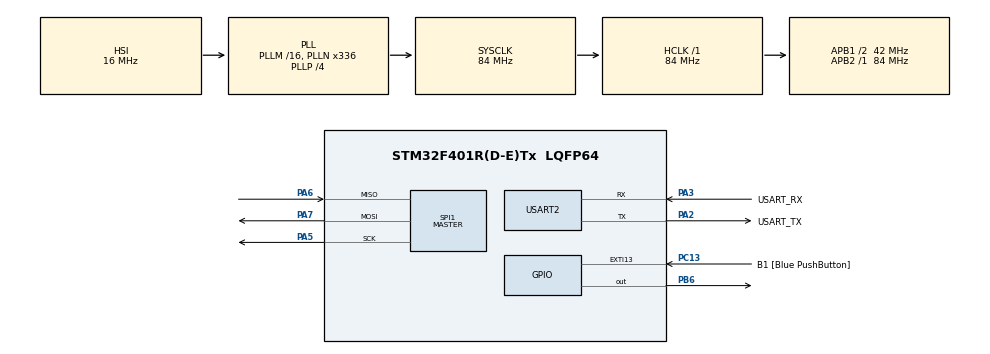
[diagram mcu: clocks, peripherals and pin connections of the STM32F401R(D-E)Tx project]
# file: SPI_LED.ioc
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Dma.Request0=SPI1_TX
Dma.SPI1_TX.0.Direction=DMA_MEMORY_TO_PERIPH
Dma.SPI1_TX.0.FIFOMode=DMA_FIFOMODE_DISABLE
Dma.SPI1_TX.0.Instance=DMA2_Stream3
Dma.SPI1_TX.0.MemDataAlignment=DMA_MDATAALIGN_BYTE
Dma.SPI1_TX.0.MemInc=DMA_MINC_ENABLE
Dma.SPI1_TX.0.Mode=DMA_NORMAL
Dma.SPI1_TX.0.PeriphDataAlignment=DMA_PDATAALIGN_BYTE
Dma.SPI1_TX.0.PeriphInc=DMA_PINC_DISABLE
Dma.SPI1_TX.0.Priority=DMA_PRIORITY_LOW
Mcu.Family=STM32F4
Mcu.Name=STM32F401R(D-E)Tx
Mcu.Package=LQFP64
NVIC.DMA2_Stream3_IRQn=true\:0\:0\:false\:false\:true\:false\:true\:true
NVIC.PriorityGroup=NVIC_PRIORITYGROUP_4
NVIC.TIM2_IRQn=true\:0\:0\:true\:false\:true\:true\:true\:true
NVIC.TIM3_IRQn=true\:1\:0\:true\:false\:true\:true\:true\:true
PA13.GPIO_Label=TMS
PA13.Mode=Trace_Asynchronous_SW
PA13.Signal=SYS_JTMS-SWDIO
PA14.GPIO_Label=TCK
PA14.Mode=Trace_Asynchronous_SW
PA14.Signal=SYS_JTCK-SWCLK
PA2.GPIO_Label=USART_TX
PA2.GPIO_Mode=GPIO_MODE_AF_PP
PA2.GPIO_PuPd=GPIO_NOPULL
PA2.GPIO_Speed=GPIO_SPEED_FREQ_LOW
PA2.Mode=Asynchronous
PA2.Signal=USART2_TX
PA3.GPIO_Label=USART_RX
PA3.GPIO_Mode=GPIO_MODE_AF_PP
PA3.GPIO_PuPd=GPIO_NOPULL
PA3.GPIO_Speed=GPIO_SPEED_FREQ_LOW
PA3.Mode=Asynchronous
PA3.Signal=USART2_RX
PA5.Mode=Full_Duplex_Master
PA5.Signal=SPI1_SCK
PA6.Mode=Full_Duplex_Master
PA6.Signal=SPI1_MISO
PA7.Mode=Full_Duplex_Master
PA7.Signal=SPI1_MOSI
PB3.GPIO_Label=SWO
PB3.Mode=Trace_Asynchronous_SW
PB3.Signal=SYS_JTDO-SWO
PB6.Signal=GPIO_Output
PC13-ANTI_TAMP.GPIO_Label=B1 [Blue PushButton]
PC13-ANTI_TAMP.GPIO_ModeDefaultEXTI=GPIO_MODE_IT_FALLING
PC13-ANTI_TAMP.GPIO_PuPd=GPIO_NOPULL
PC13-ANTI_TAMP.Signal=GPXTI13
PC14-OSC32_IN.Mode=LSE-External-Oscillator
PC14-OSC32_IN.Signal=RCC_OSC32_IN
PC15-OSC32_OUT.Mode=LSE-External-Oscillator
PC15-OSC32_OUT.Signal=RCC_OSC32_OUT
PH0\ -\ OSC_IN.Mode=HSE-External-Clock-Source
PH0\ -\ OSC_IN.Signal=RCC_OSC_IN
PH1\ -\ OSC_OUT.Mode=HSE-External-Clock-Source
PH1\ -\ OSC_OUT.Signal=RCC_OSC_OUT
ProjectManager.HeapSize=0x200
ProjectManager.StackSize=0x400
ProjectManager.TargetToolchain=STM32CubeIDE
RCC.48MHZClocksFreq_Value=48000000
RCC.AHBFreq_Value=84000000
RCC.APB1CLKDivider=RCC_HCLK_DIV2
RCC.APB1Freq_Value=42000000
RCC.APB1TimFreq_Value=84000000
RCC.APB2Freq_Value=84000000
RCC.APB2TimFreq_Value=84000000
RCC.CortexFreq_Value=84000000
RCC.HCLKFreq_Value=84000000
RCC.HSE_VALUE=8000000
RCC.HSI_VALUE=16000000
RCC.PLLN=336
RCC.PLLP=RCC_PLLP_DIV4
RCC.PLLQ=7
RCC.SYSCLKFreq_VALUE=84000000
RCC.SYSCLKSource=RCC_SYSCLKSOURCE_PLLCLK
RCC.VCOOutputFreq_Value=336000000
SPI1.BaudRatePrescaler=SPI_BAUDRATEPRESCALER_4
SPI1.Direction=SPI_DIRECTION_2LINES
SPI1.Mode=SPI_MODE_MASTER
SPI1.VirtualType=VM_MASTER
TIM2.Period=39
TIM2.Prescaler=8399
TIM3.Period=9999
TIM3.Prescaler=8399
USART2.VirtualMode=VM_ASYNC
VP_TIM2_VS_ClockSourceINT.Mode=Internal
VP_TIM3_VS_ClockSourceINT.Mode=Internal
board=NUCLEO-F401RE

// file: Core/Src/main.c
/* USER CODE BEGIN Header */
/**
  **************************
  * @file           : main.c
  * @brief          : Main program body
  **************************
  * @attention
  *
  * Copyright (c) 2025 STMicroelectronics.
  * All rights reserved.
  *
  * This software is licensed under terms that can be found in the LICENSE file
  * in the root directory of this software component.
  * If no LICENSE file comes with this software, it is provided AS-IS.
  *
  **************************
  */
/* USER CODE END Header */
#include "main.h"

/* USER CODE BEGIN Includes */

#include "string.h"
#include "stdio.h"

/* USER CODE END Includes */

/* USER CODE BEGIN PD */

#define RCLK_GPIO_Port GPIOB
#define RCLK_Pin       GPIO_PIN_6

/* USER CODE END PD */

SPI_HandleTypeDef hspi1;
DMA_HandleTypeDef hdma_spi1_tx;

TIM_HandleTypeDef htim2;
TIM_HandleTypeDef htim3;

UART_HandleTypeDef huart2;

/* USER CODE BEGIN PV */

uint8_t FONT_A[5] = {
  0b1111100,
  0b0010010,
  0b0010001,
  0b0010010,
  0b1111100
};

uint8_t FONT_B[5] = {
  0b1111111,
  0b1001001,
  0b1001001,
  0b1001001,
  0b0110110
};

uint8_t COL[5] = {
  0b00000001,
  0b00000010,
  0b00000100,
  0b00001000,
  0b00010000
};

uint8_t tx2[2];
uint8_t col_idx=0;
int font=0;

/* USER CODE END PV */

void SystemClock_Config(void);
static void MX_GPIO_Init(void);
static void MX_DMA_Init(void);
static void MX_USART2_UART_Init(void);
static void MX_SPI1_Init(void);
static void MX_TIM2_Init(void);
static void MX_TIM3_Init(void);

/* USER CODE BEGIN 0 */

void RCLK_Pulse(void)
{
  HAL_GPIO_WritePin(RCLK_GPIO_Port, RCLK_Pin, GPIO_PIN_RESET);
  HAL_GPIO_WritePin(RCLK_GPIO_Port, RCLK_Pin, GPIO_PIN_SET);
  HAL_GPIO_WritePin(RCLK_GPIO_Port, RCLK_Pin, GPIO_PIN_RESET);
}

void HAL_SPI_TxCpltCallback(SPI_HandleTypeDef *hspi)
{
  if (hspi==&hspi1)
  {
    RCLK_Pulse();
    col_idx=(col_idx+1)%5;
  }
}

/* USER CODE END 0 */

int main(void)
{

  /* MCU Configuration--------------------------------------------------------*/

  /* Reset of all peripherals, Initializes the Flash interface and the Systick. */
  HAL_Init();

  /* Configure the system clock */
  SystemClock_Config();

  /* Initialize all configured peripherals */
  MX_GPIO_Init();
  MX_DMA_Init();
  MX_USART2_UART_Init();
  MX_SPI1_Init();
  MX_TIM2_Init();
  MX_TIM3_Init();
  /* USER CODE BEGIN 2 */

  HAL_GPIO_WritePin(RCLK_GPIO_Port, RCLK_Pin, GPIO_PIN_RESET);
  HAL_TIM_Base_Start_IT(&htim2);
  HAL_TIM_Base_Start_IT(&htim3);

  /* USER CODE END 2 */

  /* Infinite loop */
  while (1)
  {

  }
}

void SystemClock_Config(void)
{
  RCC_OscInitTypeDef RCC_OscInitStruct = {0};
  RCC_ClkInitTypeDef RCC_ClkInitStruct = {0};

  /** Configure the main internal regulator output voltage
  */
  __HAL_RCC_PWR_CLK_ENABLE();
  __HAL_PWR_VOLTAGESCALING_CONFIG(PWR_REGULATOR_VOLTAGE_SCALE2);

  /** Initializes the RCC Oscillators according to the specified parameters
  * in the RCC_OscInitTypeDef structure.
  */
  RCC_OscInitStruct.OscillatorType = RCC_OSCILLATORTYPE_HSI;
  RCC_OscInitStruct.HSIState = RCC_HSI_ON;
  RCC_OscInitStruct.HSICalibrationValue = RCC_HSICALIBRATION_DEFAULT;
  RCC_OscInitStruct.PLL.PLLState = RCC_PLL_ON;
  RCC_OscInitStruct.PLL.PLLSource = RCC_PLLSOURCE_HSI;
  RCC_OscInitStruct.PLL.PLLM = 16;
  RCC_OscInitStruct.PLL.PLLN = 336;
  RCC_OscInitStruct.PLL.PLLP = RCC_PLLP_DIV4;
  RCC_OscInitStruct.PLL.PLLQ = 7;
  if (HAL_RCC_OscConfig(&RCC_OscInitStruct) != HAL_OK)
  {
    Error_Handler();
  }

  /** Initializes the CPU, AHB and APB buses clocks
  */
  RCC_ClkInitStruct.ClockType = RCC_CLOCKTYPE_HCLK|RCC_CLOCKTYPE_SYSCLK
                              |RCC_CLOCKTYPE_PCLK1|RCC_CLOCKTYPE_PCLK2;
  RCC_ClkInitStruct.SYSCLKSource = RCC_SYSCLKSOURCE_PLLCLK;
  RCC_ClkInitStruct.AHBCLKDivider = RCC_SYSCLK_DIV1;
  RCC_ClkInitStruct.APB1CLKDivider = RCC_HCLK_DIV2;
  RCC_ClkInitStruct.APB2CLKDivider = RCC_HCLK_DIV1;

  if (HAL_RCC_ClockConfig(&RCC_ClkInitStruct, FLASH_LATENCY_2) != HAL_OK)
  {
    Error_Handler();
  }
}

static void MX_SPI1_Init(void)
{

  /* SPI1 parameter configuration*/
  hspi1.Instance = SPI1;
  hspi1.Init.Mode = SPI_MODE_MASTER;
  hspi1.Init.Direction = SPI_DIRECTION_2LINES;
  hspi1.Init.DataSize = SPI_DATASIZE_8BIT;
  hspi1.Init.CLKPolarity = SPI_POLARITY_LOW;
  hspi1.Init.CLKPhase = SPI_PHASE_1EDGE;
  hspi1.Init.NSS = SPI_NSS_SOFT;
  hspi1.Init.BaudRatePrescaler = SPI_BAUDRATEPRESCALER_4;
  hspi1.Init.FirstBit = SPI_FIRSTBIT_MSB;
  hspi1.Init.TIMode = SPI_TIMODE_DISABLE;
  hspi1.Init.CRCCalculation = SPI_CRCCALCULATION_DISABLE;
  hspi1.Init.CRCPolynomial = 10;
  if (HAL_SPI_Init(&hspi1) != HAL_OK)
  {
    Error_Handler();
  }

}

static void MX_TIM2_Init(void)
{

  TIM_ClockConfigTypeDef sClockSourceConfig = {0};
  TIM_MasterConfigTypeDef sMasterConfig = {0};

  htim2.Instance = TIM2;
  htim2.Init.Prescaler = 8399;
  htim2.Init.CounterMode = TIM_COUNTERMODE_UP;
  htim2.Init.Period = 39;
  htim2.Init.ClockDivision = TIM_CLOCKDIVISION_DIV1;
  htim2.Init.AutoReloadPreload = TIM_AUTORELOAD_PRELOAD_DISABLE;
  if (HAL_TIM_Base_Init(&htim2) != HAL_OK)
  {
    Error_Handler();
  }
  sClockSourceConfig.ClockSource = TIM_CLOCKSOURCE_INTERNAL;
  if (HAL_TIM_ConfigClockSource(&htim2, &sClockSourceConfig) != HAL_OK)
  {
    Error_Handler();
  }
  sMasterConfig.MasterOutputTrigger = TIM_TRGO_RESET;
  sMasterConfig.MasterSlaveMode = TIM_MASTERSLAVEMODE_DISABLE;
  if (HAL_TIMEx_MasterConfigSynchronization(&htim2, &sMasterConfig) != HAL_OK)
  {
    Error_Handler();
  }

}

static void MX_TIM3_Init(void)
{

  TIM_ClockConfigTypeDef sClockSourceConfig = {0};
  TIM_MasterConfigTypeDef sMasterConfig = {0};

  htim3.Instance = TIM3;
  htim3.Init.Prescaler = 8399;
  htim3.Init.CounterMode = TIM_COUNTERMODE_UP;
  htim3.Init.Period = 9999;
  htim3.Init.ClockDivision = TIM_CLOCKDIVISION_DIV1;
  htim3.Init.AutoReloadPreload = TIM_AUTORELOAD_PRELOAD_DISABLE;
  if (HAL_TIM_Base_Init(&htim3) != HAL_OK)
  {
    Error_Handler();
  }
  sClockSourceConfig.ClockSource = TIM_CLOCKSOURCE_INTERNAL;
  if (HAL_TIM_ConfigClockSource(&htim3, &sClockSourceConfig) != HAL_OK)
  {
    Error_Handler();
  }
  sMasterConfig.MasterOutputTrigger = TIM_TRGO_RESET;
  sMasterConfig.MasterSlaveMode = TIM_MASTERSLAVEMODE_DISABLE;
  if (HAL_TIMEx_MasterConfigSynchronization(&htim3, &sMasterConfig) != HAL_OK)
  {
    Error_Handler();
  }

}

static void MX_USART2_UART_Init(void)
{

  huart2.Instance = USART2;
  huart2.Init.BaudRate = 115200;
  huart2.Init.WordLength = UART_WORDLENGTH_8B;
  huart2.Init.StopBits = UART_STOPBITS_1;
  huart2.Init.Parity = UART_PARITY_NONE;
  huart2.Init.Mode = UART_MODE_TX_RX;
  huart2.Init.HwFlowCtl = UART_HWCONTROL_NONE;
  huart2.Init.OverSampling = UART_OVERSAMPLING_16;
  if (HAL_UART_Init(&huart2) != HAL_OK)
  {
    Error_Handler();
  }

}

static void MX_DMA_Init(void)
{

  /* DMA controller clock enable */
  __HAL_RCC_DMA2_CLK_ENABLE();

  /* DMA interrupt init */
  /* DMA2_Stream3_IRQn interrupt configuration */
  HAL_NVIC_SetPriority(DMA2_Stream3_IRQn, 0, 0);
  HAL_NVIC_EnableIRQ(DMA2_Stream3_IRQn);

}

static void MX_GPIO_Init(void)
{
  GPIO_InitTypeDef GPIO_InitStruct = {0};

  /* GPIO Ports Clock Enable */
  __HAL_RCC_GPIOC_CLK_ENABLE();
  __HAL_RCC_GPIOH_CLK_ENABLE();
  __HAL_RCC_GPIOA_CLK_ENABLE();
  __HAL_RCC_GPIOB_CLK_ENABLE();

  /*Configure GPIO pin Output Level */
  HAL_GPIO_WritePin(GPIOB, GPIO_PIN_6, GPIO_PIN_RESET);

  /*Configure GPIO pin : B1_Pin */
  GPIO_InitStruct.Pin = B1_Pin;
  GPIO_InitStruct.Mode = GPIO_MODE_IT_FALLING;
  GPIO_InitStruct.Pull = GPIO_NOPULL;
  HAL_GPIO_Init(B1_GPIO_Port, &GPIO_InitStruct);

  /*Configure GPIO pin : PB6 */
  GPIO_InitStruct.Pin = GPIO_PIN_6;
  GPIO_InitStruct.Mode = GPIO_MODE_OUTPUT_PP;
  GPIO_InitStruct.Pull = GPIO_NOPULL;
  GPIO_InitStruct.Speed = GPIO_SPEED_FREQ_LOW;
  HAL_GPIO_Init(GPIOB, &GPIO_InitStruct);

}

/* USER CODE BEGIN 4 */

void HAL_TIM_PeriodElapsedCallback(TIM_HandleTypeDef *htim)
{
  if (htim == &htim2)
  {
	  if(font)
	  {
		  tx2[0] = FONT_B[col_idx];
		  tx2[1] = COL[col_idx];
	  }
	  else
	  {
		  tx2[0] = FONT_A[col_idx];
		  tx2[1] = COL[col_idx];
	  }

    HAL_SPI_Transmit_DMA(&hspi1, tx2, 2);
  }

  if(htim==&htim3)
  	{
  		if(font)
  		{
  			font=0;
  		}
  		else
  		{
  		    font=1;
  		}
  	}
}

/* USER CODE END 4 */

void Error_Handler(void)
{
  __disable_irq();
  while (1)
  {
  }
}
